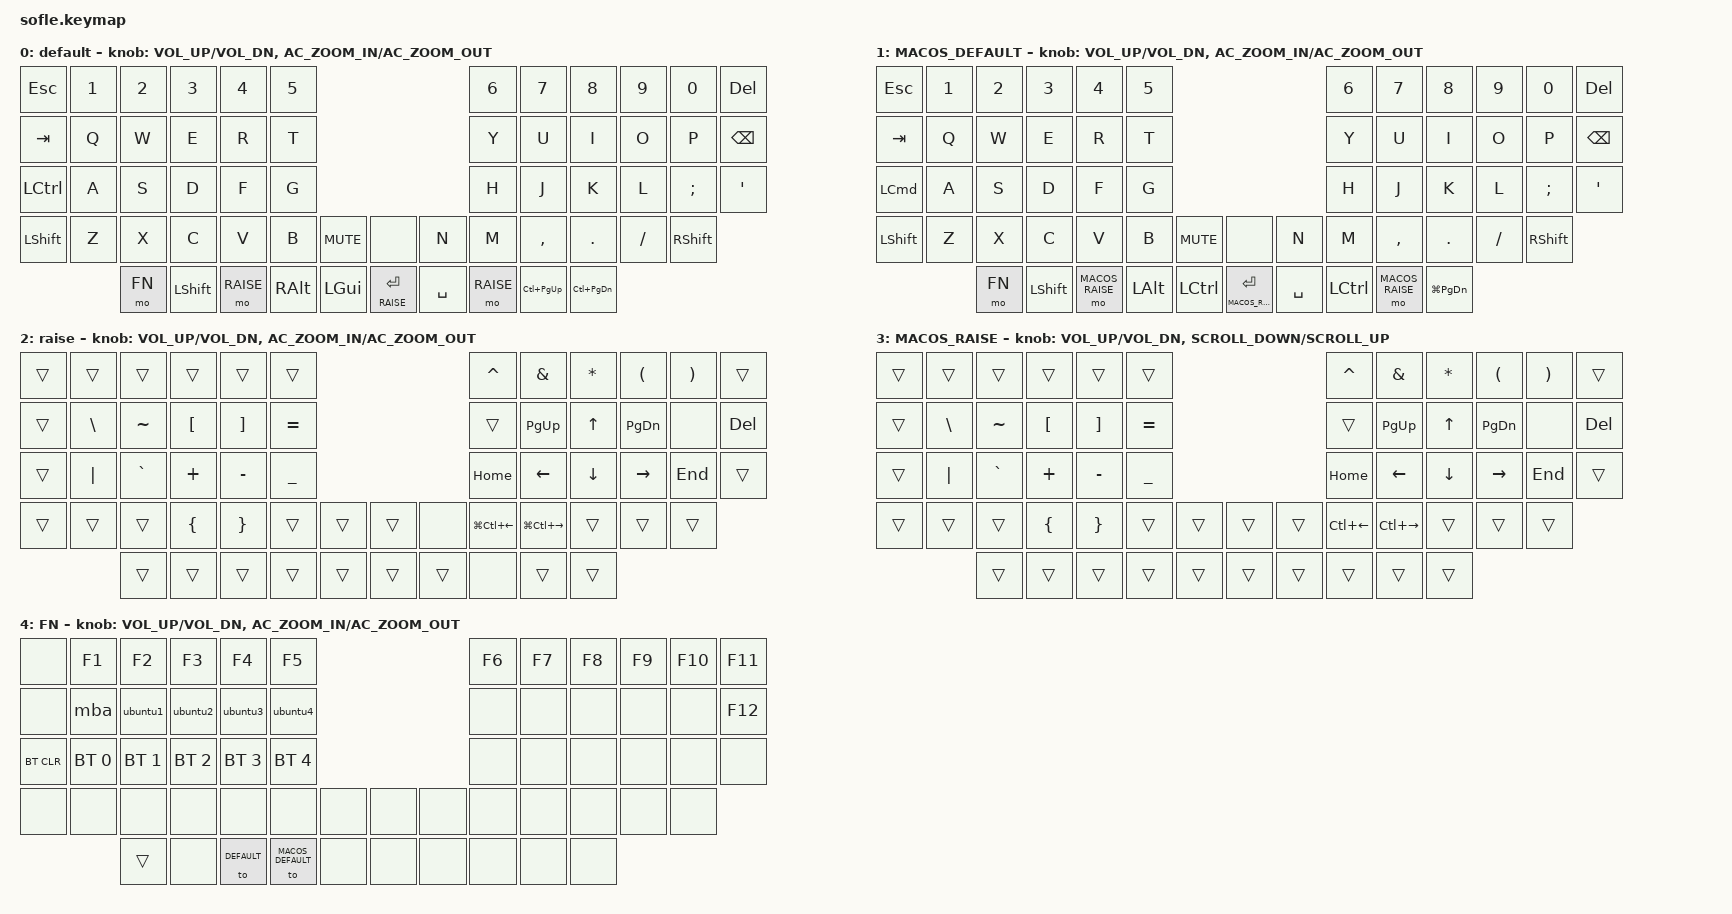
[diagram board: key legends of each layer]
/*
 * Copyright (c) 2020 The ZMK Contributors
 *
 * SPDX-License-Identifier: MIT
 */

#include <behaviors.dtsi>
#include <dt-bindings/zmk/keys.h>
#include <dt-bindings/zmk/bt.h>
#include <dt-bindings/zmk/rgb.h>
#include <dt-bindings/zmk/ext_power.h>

#define DEFAULT 0
#define MACOS_DEFAULT 1
#define RAISE 2
#define MACOS_RAISE 3
#define FN 4


/{
    macros {
        mba: mba {
            compatible = "zmk,behavior-macro";
            label = "macro_switch_to_mba";
            #binding-cells = <0>;
            bindings = <&bt BT_SEL 0>, <&to MACOS_DEFAULT>;
        };

        ubuntu1: ubuntu1 {
            compatible = "zmk,behavior-macro";
            label = "macro_switch_to_ubuntu";
            #binding-cells = <0>;
            bindings= <&bt BT_SEL 1>, <&to DEFAULT>;
        };

        ubuntu2: ubuntu2 {
            compatible = "zmk,behavior-macro";
            label = "macro_switch_to_ubuntu";
            #binding-cells = <0>;
            bindings= <&bt BT_SEL 2>, <&to DEFAULT>;
        };

        ubuntu3: ubuntu3 {
            compatible = "zmk,behavior-macro";
            label = "macro_switch_to_ubuntu";
            #binding-cells = <0>;
            bindings= <&bt BT_SEL 3>, <&to DEFAULT>;
        };

        ubuntu4: ubuntu4 {
            compatible = "zmk,behavior-macro";
            label = "macro_switch_to_ubuntu";
            #binding-cells = <0>;
            bindings= <&bt BT_SEL 4>, <&to DEFAULT>;
        };
    };

    keymap {

        compatible = "zmk,keymap";

        default_layer {
            display-name = "default";
// ------------------------------------------------------------------------------------------------------------
// |  ESC  |  1  |  2   |  3   |  4   |  5   |                   |  6   |  7    |  8    |  9   |   0   | DELETE |
// |  TAB  |  Q  |  W   |  E   |  R   |  T   |                   |  Y   |  U    |  I    |  O   |   P   | BKSPC  |
// | CTRL  |  A  |  S   |  D   |  F   |  G   |                   |  H   |  J    |  K    |  L   |   ;   |   '    |
// | SHIFT |  Z  |  X   |  C   |  V   |  B   |  MUTE  |  |       |  N   |  M    |  ,    |  .   |   /   | SHIFT  |
//               |FN    | SHIFT| RAISE| ALT  |  GUI   |  | ENTER | SPACE| RAISE | CTRL_PGUP  | CTRL_PGDN |
            bindings = <
&kp ESC   &kp N1 &kp N2    &kp N3    &kp N4    &kp N5                           &kp N6 &kp N7    &kp N8    &kp N9   &kp N0   &kp DELETE
&kp TAB   &kp Q  &kp W     &kp E     &kp R     &kp T                            &kp Y  &kp U     &kp I     &kp O    &kp P    &kp BSPC
&kp LCTRL &kp A  &kp S     &kp D     &kp F     &kp G                            &kp H  &kp J     &kp K     &kp L    &kp SEMI &kp SQT
&kp LSHIFT     &kp Z  &kp X   &kp C   &kp V     &kp B      &kp C_MUTE &none      &kp N  &kp M     &kp COMMA &kp DOT  &kp FSLH &kp RSHIFT
                 &mo FN &kp LSHIFT &mo RAISE &kp RALT    &kp LGUI   &lt RAISE ENTER  &kp SPACE  &mo RAISE &kp LC(PG_UP)  &kp LC(PG_DN)
            >;

            sensor-bindings = <&inc_dec_kp C_VOL_UP C_VOL_DN &inc_dec_kp C_AC_ZOOM_IN C_AC_ZOOM_OUT>;
        };

        macos_default_layer {
            display-name = "MACOS_DEFAULT";
// ------------------------------------------------------------------------------------------------------------
// |  ESC  |  1  |  2   |  3   |  4   |  5   |                        |  6   |  7    |  8    |  9   |   0   | DELETE |
// |  TAB  |  Q  |  W   |  E   |  R   |  T   |                        |  Y   |  U    |  I    |  O   |   P   | BKSPC  |
// |  CMD  |  A  |  S   |  D   |  F   |  G   |                        |  H   |  J    |  K    |  L   |   ;   |   '    |
// | SHIFT |  Z  |  X   |  C   |  V   |  B   |  MUTE  |         |     |  N   |  M    |  ,    |  .   |   /   |   SHIFT    |
//               |  FN  | SHIFT| MAC_RAISE| ALT  |  CTRL   |  | ENTER | SPACE| MAC_RAISE | CTRL  | CTRL_PGDN |
            bindings = <
&kp ESC       &kp N1      &kp N2           &kp N3      &kp N4      &kp N5                             &kp N6     &kp N7            &kp N8         &kp N9         &kp N0   &kp DELETE
&kp TAB       &kp Q       &kp W            &kp E       &kp R       &kp T                              &kp Y      &kp U             &kp I          &kp O          &kp P    &kp BSPC
&kp LCMD      &kp A       &kp S            &kp D       &kp F       &kp G                              &kp H      &kp J             &kp K          &kp L          &kp SEMI &kp SQT
&kp LSHIFT     &kp Z       &kp X            &kp C       &kp V       &kp B      &kp C_MUTE   &none      &kp N      &kp M             &kp COMMA      &kp DOT        &kp FSLH &kp RSHIFT
                        &mo FN  &kp LSHIFT  &mo MACOS_RAISE  &kp LALT   &kp LCTRL    &lt MACOS_RAISE ENTER  &kp SPACE  &kp LCTRL  &mo MACOS_RAISE  &kp LG(PG_DN)
            >;

           sensor-bindings = <&inc_dec_kp C_VOL_UP C_VOL_DN &inc_dec_kp C_AC_ZOOM_IN C_AC_ZOOM_OUT>;
        };

        raise_layer {
            display-name = "raise";
// ------------------------------------------------------------------------------------------------------------
// |       |      |      |       |       |       |                |    ^   |   &  |   *   |  (   |  )    |       |
// |       |   \  |   ~  |   [   |   ]   |   =   |                |        | PGUP |   ^   | PGDN |       | DELETE|
// |       |   |  |   `  |   +   |   -   |   _   |                |  HOME  |   <- |   v   |  ->  | END   |       |
// |       |      |      |   {   |   }   |       |      |  |      |        |LDESK |  RDESK|      |       |       |
//                |      |       |       |       |      |  |      |        |      |       |      |
            bindings = <
&trans       &trans        &trans        &trans          &trans          &trans                                      &kp CARET     &kp AMPS      &kp ASTRK    &kp LPAR      &kp RPAR    &trans
&trans       &kp BSLH      &kp TILDE     &kp LBKT        &kp RBKT        &kp EQUAL                                   &trans    &kp PG_UP  &kp UP    &kp PG_DN   &none    &kp DELETE
&trans       &kp PIPE      &kp GRAVE     &kp PLUS        &kp MINUS       &kp UNDER                                   &kp HOME  &kp LEFT   &kp DOWN  &kp RIGHT   &kp END   &trans
&trans       &trans        &trans        &kp LBRC        &kp RBRC        &trans        &trans  &trans  &none         &kp LG(LC(LEFT))     &kp LG(LC(RIGHT))   &trans    &trans    &trans
                           &trans        &trans        &trans        &trans            &trans  &trans  &trans    &none     &trans     &trans
            >;

            sensor-bindings = <&inc_dec_kp C_VOL_UP C_VOL_DN &inc_dec_kp C_AC_ZOOM_IN C_AC_ZOOM_OUT>;
        };


        macos_raise_layer {
            display-name = "MACOS_RAISE";
// ------------------------------------------------------------------------------------------------------------
// |       |      |      |       |       |       |                |    ^   |   &  |   *   |  (   |  )    |       |
// |       |   \  |   ~  |   [   |   ]   |   =   |                |        | PGUP |   ^   | PGDN |       | DELETE|
// |       |   |  |   `  |   +   |   -   |   _   |                |  HOME  |   <- |   v   |  ->  | END   |       |
// |       |      |      |   {   |   }   |       |      |  |      |        |DLEFT |DRIGHT |      |       |       |
//                |      |       |       |       |      |  |      |        |      |       |      |
            bindings = <
&trans       &trans        &trans        &trans          &trans         &trans                                    &kp CARET     &kp AMPS      &kp ASTRK    &kp LPAR      &kp RPAR    &trans
&trans       &kp BSLH      &kp TILDE     &kp LBKT        &kp RBKT        &kp EQUAL                                   &trans    &kp PG_UP  &kp UP    &kp PG_DN   &none    &kp DELETE
&trans       &kp PIPE      &kp GRAVE     &kp PLUS        &kp MINUS       &kp UNDER                                  &kp HOME  &kp LEFT   &kp DOWN  &kp RIGHT   &kp END   &trans
&trans       &trans        &trans        &kp LBRC        &kp RBRC        &trans        &trans  &trans  &trans        &kp LC(LEFT)     &kp LC(RIGHT)      &trans &trans    &trans
                           &trans        &trans        &trans        &trans            &trans  &trans  &trans    &trans     &trans     &trans
            >;

           sensor-bindings = <&inc_dec_kp C_VOL_UP C_VOL_DN &inc_dec_kp K_SCROLL_DOWN K_SCROLL_UP>;
        };


        fn_layer {
            display-name = "FN";
            bindings = <&mba>, <&ubuntu>;
// TODO: Some binds are waiting for shifted keycode support.
// ------------------------------------------------------------------------------------------------------------
// |       |  F1 |  F2 |  F3  |  F4  |  F5  |                   |  F6  |  F7   |  F8   |  F9  |  F10  |  F11  |
// |       |  p1 |  p2 |  p3  |  p4  |  p5  |                   |      |       |       |      |       |  F12  |
// | btclr |  bt0|  bt1|  bt2 |  bt3 |  bt4 |                   |      |       |       |      |       |       |
// |       |     |     |      |      |      |        |  |       |      |       |       |      |       |       |
//               |     |      |      |      |        |  |       |      |       |       |      |
            bindings = <
&none    &kp F1    &kp F2    &kp F3      &kp F4    &kp F5                                           &kp F6    &kp F7   &kp F8    &kp F9    &kp F10   &kp F11
&none &mba    &ubuntu1    &ubuntu2      &ubuntu3    &ubuntu4                                           &none  &none  &none  &none  &none  &kp F12
&bt BT_CLR   &bt BT_SEL 0  &bt BT_SEL 1  &bt BT_SEL 2  &bt BT_SEL 3  &bt BT_SEL 4                    &none  &none  &none  &none  &none  &none
&none  &none  &none  &none  &none  &none      &none &none       &none  &none  &none  &none  &none  &none
                    &trans    &none      &to DEFAULT    &to MACOS_DEFAULT     &none &none       &none     &none   &none    &none
            >;

            sensor-bindings = <&inc_dec_kp C_VOL_UP C_VOL_DN &inc_dec_kp C_AC_ZOOM_IN C_AC_ZOOM_OUT>;
    };


    };
};
